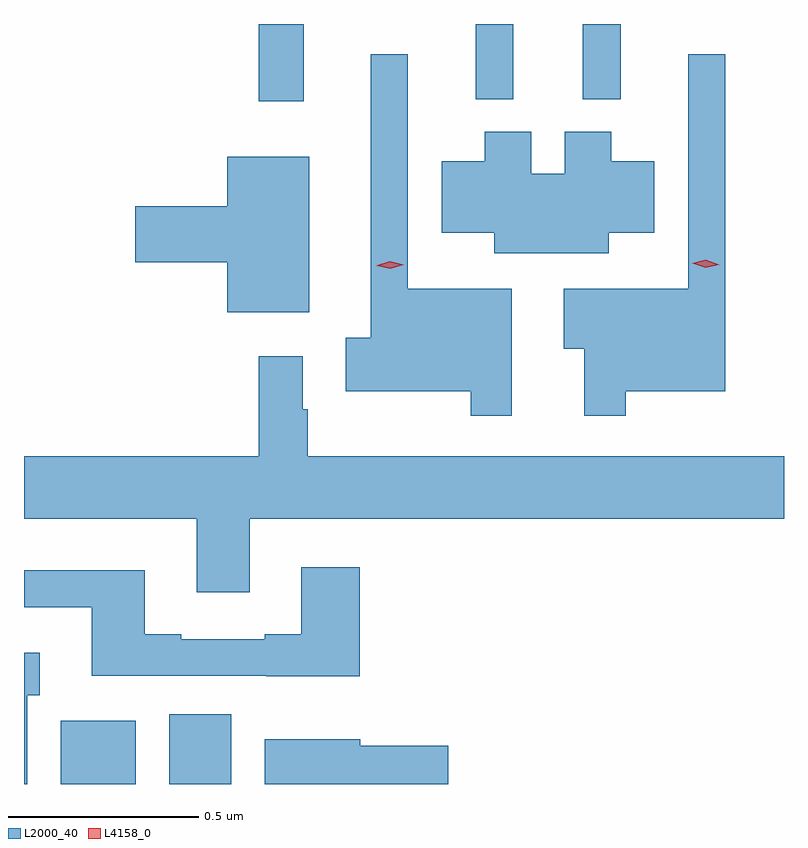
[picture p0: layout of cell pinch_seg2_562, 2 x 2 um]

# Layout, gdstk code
import gdstk
lib = gdstk.Library(unit=1e-6, precision=1e-09)
def R(c, l, rs):  # rectangles x0, y0, x1, y1
    for r in rs: c.add(gdstk.rectangle(r[:2], r[2:], *l))
def P(c, l, *ps):  # polygons
    for p in ps: c.add(gdstk.Polygon(p, *l))
L2000_40 = (2000, 40)
L4158_0 = (4158, 0)

pinch_seg2_562 = lib.new_cell('pinch_seg2_562')
R(pinch_seg2_562, L2000_40, [(1133.948,609.642,1134.145,609.808), (1134.233,609.642,1134.397,609.826), (1134.469,611.439,1134.587,611.642), (1135.04,611.444,1135.139,611.642), (1135.322,611.444,1135.421,611.642)])
P(pinch_seg2_562, L2000_40, [(1135.435,610.676),(1135.696,610.676),(1135.696,611.563),(1135.599,611.563),(1135.599,610.945),(1135.272,610.945),(1135.272,610.787),(1135.325,610.787),(1135.325,610.611),(1135.435,610.611)],
  [(1135.134,610.945),(1134.861,610.945),(1134.861,611.563),(1134.764,611.563),(1134.764,610.817),(1134.698,610.817),(1134.698,610.676),(1135.026,610.676),(1135.026,610.611),(1135.134,610.611)],
  [(1135.39,611.093),(1135.51,611.093),(1135.51,611.281),(1135.396,611.281),(1135.396,611.359),(1135.274,611.359),(1135.274,611.248),(1135.186,611.248),(1135.186,611.359),(1135.064,611.359),(1135.064,611.281),(1134.95,611.281),(1134.95,611.093),(1135.088,611.093),(1135.088,611.039),(1135.39,611.039)],
  [(1134.601,611.293),(1134.386,611.293),(1134.386,611.162),(1134.144,611.162),(1134.144,611.015),(1134.386,611.015),(1134.386,610.883),(1134.601,610.883)],
  [(1134.445,610.34),(1135.851,610.34),(1135.851,610.504),(1134.598,610.504),(1134.598,610.628),(1134.585,610.628),(1134.585,610.768),(1134.469,610.768),(1134.469,610.504),(1133.851,610.504),(1133.851,610.34),(1134.305,610.34),(1134.305,610.146),(1134.445,610.146)],
  [(1134.734,610.213),(1134.581,610.213),(1134.581,610.036),(1134.485,610.036),(1134.485,610.023),(1134.265,610.023),(1134.265,610.036),(1134.169,610.036),(1134.169,610.204),(1133.851,610.204),(1133.851,610.107),(1134.029,610.107),(1134.029,609.927),(1134.489,609.927),(1134.489,609.926),(1134.734,609.926)],
  [(1133.86,609.875),(1133.893,609.875),(1133.893,609.988),(1133.851,609.988),(1133.851,609.642),(1133.86,609.642)],
  [(1134.967,609.743),(1134.736,609.743),(1134.736,609.76),(1134.485,609.76),(1134.485,609.642),(1134.967,609.642)])
P(pinch_seg2_562, L4158_0, [(1135.645,611.001),(1135.61,611.012),(1135.609,611.012),(1135.61,611.012),(1135.645,611.021),(1135.68,611.009),(1135.681,611.009),(1135.68,611.009)],
  [(1134.815,610.998),(1134.78,611.006),(1134.779,611.006),(1134.78,611.007),(1134.814,611.018),(1134.85,611.009),(1134.85,611.009),(1134.85,611.009)])

lib.write_gds('pinch_seg2_562.gds')
